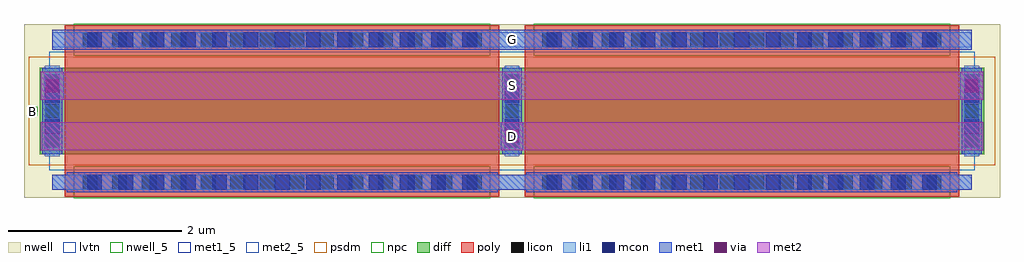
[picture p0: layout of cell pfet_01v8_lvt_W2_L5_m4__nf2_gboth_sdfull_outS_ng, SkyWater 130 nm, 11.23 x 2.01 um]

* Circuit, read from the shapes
.subckt pfet_01v8_lvt_W2_L5_m4__nf2_gboth_sdfull_outS_ng B D G S
XM1 D G S B sky130_fd_pr__pfet_01v8_lvt w=1 l=5 m=2
.ends

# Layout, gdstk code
import gdstk
lib = gdstk.Library(unit=1e-6, precision=1e-09)
def R(c, l, rs):  # rectangles x0, y0, x1, y1
    for r in rs: c.add(gdstk.rectangle(r[:2], r[2:], *l))
def A(c, l, x, y, w, h, nx, ny, dx, dy):  # array of equal rectangles
    R(c, l, [(x+i*dx, y+j*dy, x+i*dx+w, y+j*dy+h) for i in range(nx) for j in range(ny)])
nwell_5 = (64, 5)
nwell = (64, 20)
diff = (65, 20)
poly = (66, 20)
licon = (66, 44)
li1 = (67, 20)
mcon = (67, 44)
met1_5 = (68, 5)
met1 = (68, 20)
via = (68, 44)
met2_5 = (69, 5)
met2 = (69, 20)
psdm = (94, 20)
npc = (95, 20)
lvtn = (125, 44)

sky130_fd_pr__pfet_01v8_ = lib.new_cell('sky130_fd_pr__pfet_01v8_lvt_26VEAH')
R(sky130_fd_pr__pfet_01v8_, nwell, [(-5.615,-1,5.615,1)])
R(sky130_fd_pr__pfet_01v8_, diff, [(-5.435,-0.5,5.435,0.5)])
R(sky130_fd_pr__pfet_01v8_, poly, [(-5.145,-0.985,-0.145,0.985), (0.145,-0.985,5.145,0.985)])
A(sky130_fd_pr__pfet_01v8_, licon, -4.94, -0.905, 0.17, 0.17, 14, 2, 0.34, 1.64)
A(sky130_fd_pr__pfet_01v8_, licon, 0.35, -0.905, 0.17, 0.17, 14, 2, 0.34, 1.64)
A(sky130_fd_pr__pfet_01v8_, licon, -5.375, -0.425, 0.17, 0.17, 3, 3, 5.29, 0.34)
A(sky130_fd_pr__pfet_01v8_, li1, -5.375, -0.52, 0.17, 1.04, 3, 1, 5.29, 0)
R(sky130_fd_pr__pfet_01v8_, li1, [(-5.29,-0.905,5.29,-0.735), (-5.29,0.735,5.29,0.905)])
A(sky130_fd_pr__pfet_01v8_, mcon, -4.89, -0.905, 0.17, 0.17, 13, 2, 0.36, 1.64)
A(sky130_fd_pr__pfet_01v8_, mcon, 0.4, -0.905, 0.17, 0.17, 13, 2, 0.36, 1.64)
A(sky130_fd_pr__pfet_01v8_, mcon, -5.375, -0.265, 0.17, 0.17, 3, 2, 5.29, 0.36)
A(sky130_fd_pr__pfet_01v8_, met1, -5.405, -0.5, 0.23, 1, 3, 1, 5.29, 0)
R(sky130_fd_pr__pfet_01v8_, met1, [(-5.125,-0.935,-0.165,-0.905), (0.165,-0.935,5.125,-0.905), (-5.29,-0.905,5.29,-0.735), (-5.125,-0.735,-0.165,-0.705), (0.165,-0.735,5.125,-0.705), (-5.125,0.705,-0.165,0.735), (0.165,0.705,5.125,0.735), (-5.29,0.735,5.29,0.905), (-5.125,0.905,-0.165,0.935), (0.165,0.905,5.125,0.935)])
R(sky130_fd_pr__pfet_01v8_, psdm, [(-5.56,-0.625,5.56,0.625)])
R(sky130_fd_pr__pfet_01v8_, npc, [(-5.04,-1.005,-0.25,-0.635), (0.25,-1.005,5.04,-0.635), (-5.04,0.635,-0.25,1.005), (0.25,0.635,5.04,1.005)])
R(sky130_fd_pr__pfet_01v8_, lvtn, [(-5.325,-0.68,5.325,0.68)])
sky130_fd_pr__pfet_01v8_.add(gdstk.Label('D0', (-5.29,0), layer=67, texttype=5))
sky130_fd_pr__pfet_01v8_.add(gdstk.Label('G', (2.645,0.82), layer=67, texttype=5))
sky130_fd_pr__pfet_01v8_.add(gdstk.Label('G', (-2.645,0.82), layer=67, texttype=5))
sky130_fd_pr__pfet_01v8_.add(gdstk.Label('S1', (0,0), layer=67, texttype=5))

pfet_01v8_lvt_w2_l5_m4__ = lib.new_cell('pfet_01v8_lvt_W2_L5_m4__nf2_gboth_sdfull_outS_ng')
R(pfet_01v8_lvt_w2_l5_m4__, nwell_5, [(0.05,0.95,0.15,1.05)])
R(pfet_01v8_lvt_w2_l5_m4__, nwell, [(0.05,0.95,0.15,1.05)])
R(pfet_01v8_lvt_w2_l5_m4__, met1_5, [(0.325,1.705,10.905,1.935)])
R(pfet_01v8_lvt_w2_l5_m4__, met1, [(5.485,0.55,5.745,0.87), (0.195,1.13,0.455,1.45), (10.775,1.13,11.035,1.45), (0.325,1.705,10.905,1.935)])
R(pfet_01v8_lvt_w2_l5_m4__, via, [(5.54,0.635,5.69,0.785), (0.25,1.215,0.4,1.365), (10.83,1.215,10.98,1.365)])
R(pfet_01v8_lvt_w2_l5_m4__, met2_5, [(0.19,0.55,11.04,0.87), (0.19,1.13,11.04,1.45)])
R(pfet_01v8_lvt_w2_l5_m4__, met2, [(0.19,0.55,11.04,0.87), (0.19,1.13,11.04,1.45)])
pfet_01v8_lvt_w2_l5_m4__.add(gdstk.Reference(sky130_fd_pr__pfet_01v8_, (5.615,1)))
pfet_01v8_lvt_w2_l5_m4__.add(gdstk.Label('S', (5.615,1.29), layer=69, texttype=5))
pfet_01v8_lvt_w2_l5_m4__.add(gdstk.Label('D', (5.615,0.71), layer=69, texttype=5))
pfet_01v8_lvt_w2_l5_m4__.add(gdstk.Label('G', (5.615,1.82), layer=68, texttype=5))
pfet_01v8_lvt_w2_l5_m4__.add(gdstk.Label('B', (0.1,1), layer=64, texttype=5))

lib.write_gds('pfet_01v8_lvt_W2_L5_m4__nf2_gboth_sdfull_outS_ng.gds')
